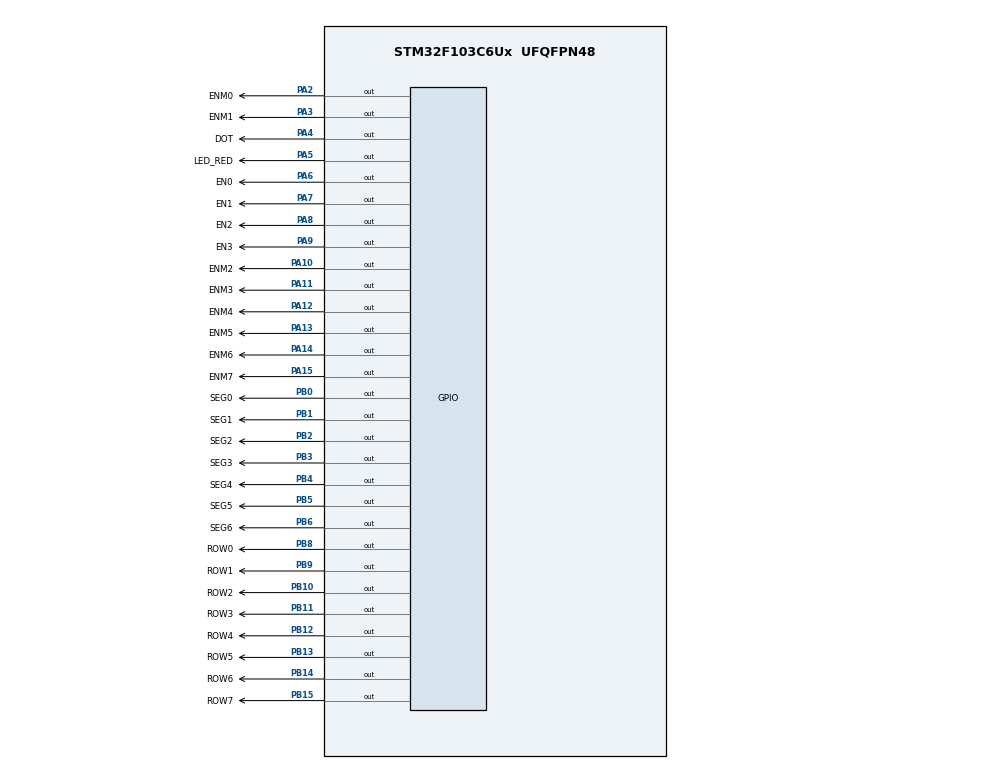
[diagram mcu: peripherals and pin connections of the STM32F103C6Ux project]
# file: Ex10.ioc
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Mcu.Family=STM32F1
Mcu.Name=STM32F103C6Ux
Mcu.Package=UFQFPN48
NVIC.PriorityGroup=NVIC_PRIORITYGROUP_4
NVIC.TIM2_IRQn=true\:0\:0\:false\:false\:true\:true\:true
PA10.GPIO_Label=ENM2
PA10.Signal=GPIO_Output
PA11.GPIO_Label=ENM3
PA11.Signal=GPIO_Output
PA12.GPIO_Label=ENM4
PA12.Signal=GPIO_Output
PA13.GPIO_Label=ENM5
PA13.Signal=GPIO_Output
PA14.GPIO_Label=ENM6
PA14.Signal=GPIO_Output
PA15.GPIO_Label=ENM7
PA15.Signal=GPIO_Output
PA2.GPIO_Label=ENM0
PA2.Signal=GPIO_Output
PA3.GPIO_Label=ENM1
PA3.Signal=GPIO_Output
PA4.GPIO_Label=DOT
PA4.Signal=GPIO_Output
PA5.GPIO_Label=LED_RED
PA5.Signal=GPIO_Output
PA6.GPIO_Label=EN0
PA6.Signal=GPIO_Output
PA7.GPIO_Label=EN1
PA7.Signal=GPIO_Output
PA8.GPIO_Label=EN2
PA8.Signal=GPIO_Output
PA9.GPIO_Label=EN3
PA9.Signal=GPIO_Output
PB0.GPIO_Label=SEG0
PB0.Signal=GPIO_Output
PB1.GPIO_Label=SEG1
PB1.Signal=GPIO_Output
PB10.GPIO_Label=ROW2
PB10.Signal=GPIO_Output
PB11.GPIO_Label=ROW3
PB11.Signal=GPIO_Output
PB12.GPIO_Label=ROW4
PB12.Signal=GPIO_Output
PB13.GPIO_Label=ROW5
PB13.Signal=GPIO_Output
PB14.GPIO_Label=ROW6
PB14.Signal=GPIO_Output
PB15.GPIO_Label=ROW7
PB15.Signal=GPIO_Output
PB2.GPIO_Label=SEG2
PB2.Signal=GPIO_Output
PB3.GPIO_Label=SEG3
PB3.Signal=GPIO_Output
PB4.GPIO_Label=SEG4
PB4.Signal=GPIO_Output
PB5.GPIO_Label=SEG5
PB5.Signal=GPIO_Output
PB6.GPIO_Label=SEG6
PB6.Signal=GPIO_Output
PB8.GPIO_Label=ROW0
PB8.Signal=GPIO_Output
PB9.GPIO_Label=ROW1
PB9.Signal=GPIO_Output
ProjectManager.HeapSize=0x200
ProjectManager.StackSize=0x400
ProjectManager.TargetToolchain=STM32CubeIDE
RCC.APB1Freq_Value=8000000
RCC.APB2Freq_Value=8000000
TIM2.Period=9
TIM2.Prescaler=7999
VP_SYS_VS_ND.Mode=No_Debug
VP_TIM2_VS_ClockSourceINT.Mode=Internal
board=custom

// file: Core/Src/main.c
/* USER CODE BEGIN Header */
/**
  ******************************************************************************
  * @file           : main.c
  * @brief          : Main program body
  ******************************************************************************
  * @attention
  *
  * <h2><center>&copy; Copyright (c) 2022 STMicroelectronics.
  * All rights reserved.</center></h2>
  *
  * This software component is licensed by ST under BSD 3-Clause license,
  * the "License"; You may not use this file except in compliance with the
  * License. You may obtain a copy of the License at:
  *                        opensource.org/licenses/BSD-3-Clause
  *
  ******************************************************************************
  */
/* USER CODE END Header */
#include "main.h"

/* USER CODE BEGIN Includes */
#include "HARDWARECONTROL.h"
#include "LED.h"
#include "SOFTWARETIMER.h"
/* USER CODE END Includes */

TIM_HandleTypeDef htim2;

void SystemClock_Config(void);
static void MX_GPIO_Init(void);
static void MX_TIM2_Init(void);

int main(void)
{

  /* MCU Configuration--------------------------------------------------------*/

  /* Reset of all peripherals, Initializes the Flash interface and the Systick. */
  HAL_Init();

  /* Configure the system clock */
  SystemClock_Config();

  /* Initialize all configured peripherals */
  MX_GPIO_Init();
  MX_TIM2_Init();
  /* USER CODE BEGIN 2 */
  HAL_TIM_Base_Start_IT(&htim2);
  initGPIO();
  int index = 0;
  setTimer_EN(25);
  int index2 = 0;
  setTimer_LED(100);
  setTimer1(5);
  clear7SEG();
  /* USER CODE END 2 */

  /* Infinite loop */
  /* USER CODE BEGIN WHILE */
  while (1)
  {
	    if(timer1_flag == 1)
	    {
		  setTimer1(5);
		  clearENM();
		  openENM(index);
		  updateLEDMatrix(index);
		  index++;
		  if(index > 7)
		  {
		    index = 0;
		    shiftLeft();
		  }
	    }
	  if(EN_flag == 1){
		  second++;
		  if(second >= 60){
			  second = 0;
			  minute++;
		  }
		  if(minute >= 60){
			  minute = 0;
			  hour++;
		  }
		  if(hour >= 24){
			  hour = 0;
		  }
		  updateClockBuffer();
		  update7SEG(index2);
		  index2++;
		  if(index2 > 3) index2 = 0;
		  setTimer_EN(25);
  	  }
	if(LED_flag == 1){
		  blinkLED();
		  setTimer_LED(100);
	  }

    /* USER CODE END WHILE */

  }
}

void SystemClock_Config(void)
{
  RCC_OscInitTypeDef RCC_OscInitStruct = {0};
  RCC_ClkInitTypeDef RCC_ClkInitStruct = {0};

  /** Initializes the RCC Oscillators according to the specified parameters
  * in the RCC_OscInitTypeDef structure.
  */
  RCC_OscInitStruct.OscillatorType = RCC_OSCILLATORTYPE_HSI;
  RCC_OscInitStruct.HSIState = RCC_HSI_ON;
  RCC_OscInitStruct.HSICalibrationValue = RCC_HSICALIBRATION_DEFAULT;
  RCC_OscInitStruct.PLL.PLLState = RCC_PLL_NONE;
  if (HAL_RCC_OscConfig(&RCC_OscInitStruct) != HAL_OK)
  {
    Error_Handler();
  }
  /** Initializes the CPU, AHB and APB buses clocks
  */
  RCC_ClkInitStruct.ClockType = RCC_CLOCKTYPE_HCLK|RCC_CLOCKTYPE_SYSCLK
                              |RCC_CLOCKTYPE_PCLK1|RCC_CLOCKTYPE_PCLK2;
  RCC_ClkInitStruct.SYSCLKSource = RCC_SYSCLKSOURCE_HSI;
  RCC_ClkInitStruct.AHBCLKDivider = RCC_SYSCLK_DIV1;
  RCC_ClkInitStruct.APB1CLKDivider = RCC_HCLK_DIV1;
  RCC_ClkInitStruct.APB2CLKDivider = RCC_HCLK_DIV1;

  if (HAL_RCC_ClockConfig(&RCC_ClkInitStruct, FLASH_LATENCY_0) != HAL_OK)
  {
    Error_Handler();
  }
}

static void MX_TIM2_Init(void)
{

  TIM_ClockConfigTypeDef sClockSourceConfig = {0};
  TIM_MasterConfigTypeDef sMasterConfig = {0};

  htim2.Instance = TIM2;
  htim2.Init.Prescaler = 7999;
  htim2.Init.CounterMode = TIM_COUNTERMODE_UP;
  htim2.Init.Period = 9;
  htim2.Init.ClockDivision = TIM_CLOCKDIVISION_DIV1;
  htim2.Init.AutoReloadPreload = TIM_AUTORELOAD_PRELOAD_DISABLE;
  if (HAL_TIM_Base_Init(&htim2) != HAL_OK)
  {
    Error_Handler();
  }
  sClockSourceConfig.ClockSource = TIM_CLOCKSOURCE_INTERNAL;
  if (HAL_TIM_ConfigClockSource(&htim2, &sClockSourceConfig) != HAL_OK)
  {
    Error_Handler();
  }
  sMasterConfig.MasterOutputTrigger = TIM_TRGO_RESET;
  sMasterConfig.MasterSlaveMode = TIM_MASTERSLAVEMODE_DISABLE;
  if (HAL_TIMEx_MasterConfigSynchronization(&htim2, &sMasterConfig) != HAL_OK)
  {
    Error_Handler();
  }

}

static void MX_GPIO_Init(void)
{
  GPIO_InitTypeDef GPIO_InitStruct = {0};

  /* GPIO Ports Clock Enable */
  __HAL_RCC_GPIOA_CLK_ENABLE();
  __HAL_RCC_GPIOB_CLK_ENABLE();

  /*Configure GPIO pin Output Level */
  HAL_GPIO_WritePin(GPIOA, ENM0_Pin|ENM1_Pin|DOT_Pin|LED_RED_Pin
                          |EN0_Pin|EN1_Pin|EN2_Pin|EN3_Pin
                          |ENM2_Pin|ENM3_Pin|ENM4_Pin|ENM5_Pin
                          |ENM6_Pin|ENM7_Pin, GPIO_PIN_RESET);

  /*Configure GPIO pin Output Level */
  HAL_GPIO_WritePin(GPIOB, SEG0_Pin|SEG1_Pin|SEG2_Pin|ROW2_Pin
                          |ROW3_Pin|ROW4_Pin|ROW5_Pin|ROW6_Pin
                          |ROW7_Pin|SEG3_Pin|SEG4_Pin|SEG5_Pin
                          |SEG6_Pin|ROW0_Pin|ROW1_Pin, GPIO_PIN_RESET);

  /*Configure GPIO pins : ENM0_Pin ENM1_Pin DOT_Pin LED_RED_Pin
                           EN0_Pin EN1_Pin EN2_Pin EN3_Pin
                           ENM2_Pin ENM3_Pin ENM4_Pin ENM5_Pin
                           ENM6_Pin ENM7_Pin */
  GPIO_InitStruct.Pin = ENM0_Pin|ENM1_Pin|DOT_Pin|LED_RED_Pin
                          |EN0_Pin|EN1_Pin|EN2_Pin|EN3_Pin
                          |ENM2_Pin|ENM3_Pin|ENM4_Pin|ENM5_Pin
                          |ENM6_Pin|ENM7_Pin;
  GPIO_InitStruct.Mode = GPIO_MODE_OUTPUT_PP;
  GPIO_InitStruct.Pull = GPIO_NOPULL;
  GPIO_InitStruct.Speed = GPIO_SPEED_FREQ_LOW;
  HAL_GPIO_Init(GPIOA, &GPIO_InitStruct);

  /*Configure GPIO pins : SEG0_Pin SEG1_Pin SEG2_Pin ROW2_Pin
                           ROW3_Pin ROW4_Pin ROW5_Pin ROW6_Pin
                           ROW7_Pin SEG3_Pin SEG4_Pin SEG5_Pin
                           SEG6_Pin ROW0_Pin ROW1_Pin */
  GPIO_InitStruct.Pin = SEG0_Pin|SEG1_Pin|SEG2_Pin|ROW2_Pin
                          |ROW3_Pin|ROW4_Pin|ROW5_Pin|ROW6_Pin
                          |ROW7_Pin|SEG3_Pin|SEG4_Pin|SEG5_Pin
                          |SEG6_Pin|ROW0_Pin|ROW1_Pin;
  GPIO_InitStruct.Mode = GPIO_MODE_OUTPUT_PP;
  GPIO_InitStruct.Pull = GPIO_NOPULL;
  GPIO_InitStruct.Speed = GPIO_SPEED_FREQ_LOW;
  HAL_GPIO_Init(GPIOB, &GPIO_InitStruct);

}

/* USER CODE BEGIN 4 */
void HAL_TIM_PeriodElapsedCallback(TIM_HandleTypeDef *htim){
	timerRun();
}
/* USER CODE END 4 */

void Error_Handler(void)
{
  __disable_irq();
  while (1)
  {
  }
}

/************************ (C) COPYRIGHT STMicroelectronics *****END OF FILE****/
